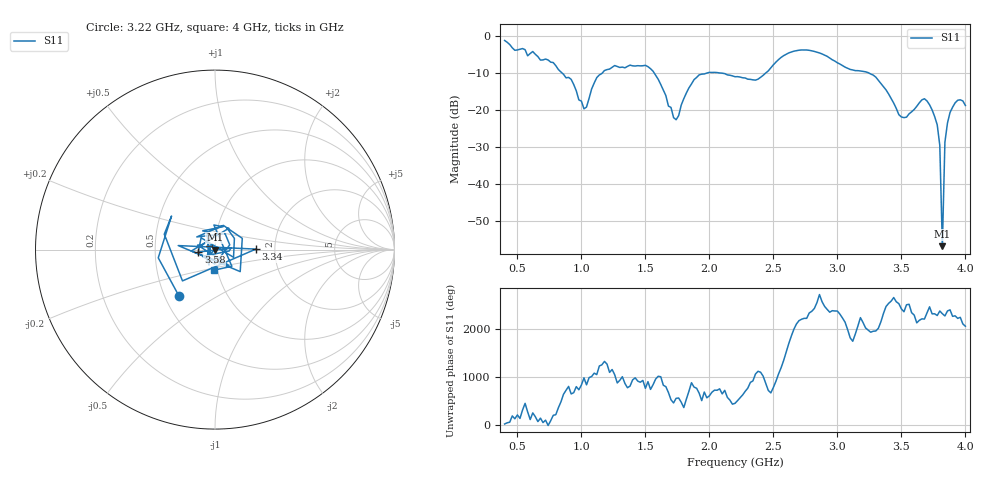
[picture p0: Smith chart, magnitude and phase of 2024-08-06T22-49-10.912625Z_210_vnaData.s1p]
!Created with skrf (http://scikit-rf.org).
# Hz S RI R 50.0
!freq ReS11 ImS11
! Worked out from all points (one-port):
!   181 points, 400 MHz to 4 GHz, reference 50 ohm
!   lowest |S11| = -56.8 dB at 3.82 GHz (marker M1), VSWR 1.00, Z = 49.9 + j0.0292 ohm
!   |S11| at or under -10 dB: 1.568 GHz to 1.985 GHz (416.3 MHz wide, 23.4 % of centre); 2.078 GHz to 2.441 GHz (362.5 MHz wide, 16 % of centre); 3.245 GHz to end of sweep (the widest 3 of 4)
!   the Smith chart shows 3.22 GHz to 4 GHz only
!   S11 on the Smith chart (normalised r, x): 3.22 GHz: 0.59, -0.34; 3.34 GHz: 1.59, +0.01; 3.58 GHz: 0.83, -0.02; 4 GHz: 0.96, -0.22
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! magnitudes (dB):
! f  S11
! 400 MHz  -1.2
! 860 MHz  -10.4
! 920 MHz  -11.7
! 1.02 GHz  -19.7
! 1.12 GHz  -11.3
! 1.3 GHz  -8.5
! 1.54 GHz  -8.8
! 1.72 GHz  -22.1
! 1.76 GHz  -21.5
! 1.84 GHz  -14.0
! 1.92 GHz  -10.5
! 2.2 GHz  -11.0
! 2.38 GHz  -11.7
! 2.66 GHz  -4.1
! 3.1 GHz  -9.1
! 3.22 GHz  -9.7
! 3.34 GHz  -12.9
! 3.48 GHz  -21.3
! 3.56 GHz  -21.0
! 3.58 GHz  -20.5
! 3.68 GHz  -17.0
! 3.78 GHz  -24.0
! 3.8 GHz  -29.6
! 3.82 GHz  -56.8
! 3.84 GHz  -28.7
! 3.86 GHz  -23.5
! 3.94 GHz  -17.4
! 4 GHz  -18.8
